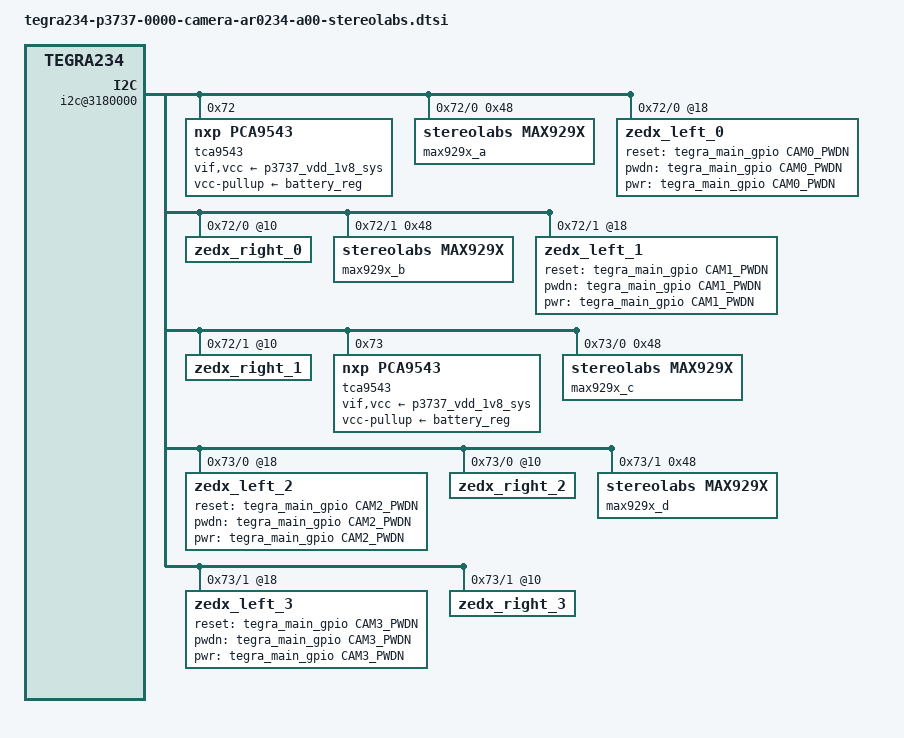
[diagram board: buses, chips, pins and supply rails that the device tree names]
/*
 * Copyright (c) 2018-2022, NVIDIA CORPORATION.  All rights reserved.
 *
 * This program is free software; you can redistribute it and/or modify
 * it under the terms of the GNU General Public License as published by
 * the Free Software Foundation; either version 2 of the License, or
 * (at your option) any later version.
 *
 * This program is distributed in the hope that it will be useful, but WITHOUT
 * ANY WARRANTY; without even the implied warranty of MERCHANTABILITY or
 * FITNESS FOR A PARTICULAR PURPOSE.  See the GNU General Public License for
 * more details.
 *
 * You should have received a copy of the GNU General Public License
 * along with this program.  If not, see <http://www.gnu.org/licenses/>.
 */
#include "t234-common-modules/tegra234-camera-ar0234-a00-stereolabs.dtsi"
#include "dt-bindings/clock/tegra234-clock.h"


#define CAM0_PWDN	TEGRA234_MAIN_GPIO(H, 6)
#define CAM1_PWDN	TEGRA234_MAIN_GPIO(AC, 0)
#define CAM2_PWDN	TEGRA234_MAIN_GPIO(H, 3)
#define CAM3_PWDN	TEGRA234_MAIN_GPIO(AC, 1)
#define CAMERA_I2C_MUX_BUS(x) (0x1E + x)

/* camera control gpio definitions */

/ {
/*
	gpio@2200000 {
		gmsl_poc {
			gpio-hog;
			output-high;
			gpios =  <CAM_POC_PWR 0>;
			label = "poc_sel1";
		};
	};
	*/

	i2c@3180000 {
		tca9543@72 {
			compatible = "nxp,pca9543";
			reg = <0x72>;
			#address-cells = <1>;
			#size-cells = <0>;
		    i2c-mux-idle-disconnect;
			idle-state = <1>;
			skip_mux_detect = "yes";
			vif-supply = <&p3737_vdd_1v8_sys>;
			vcc-supply = <&p3737_vdd_1v8_sys>;
			vcc-pullup-supply = <&battery_reg>;
			force_bus_start = <CAMERA_I2C_MUX_BUS(0)>; /* Force start of bus 30 */
			status = "okay";
			i2c-mux-idle-disconnect;

			/* /dev/i2c-30/ */
			i2c@0 {
				reg = <0>;
				i2c-mux,deselect-on-exit;
				#address-cells = <1>;
				#size-cells = <0>;

				/* deserializer MAX9296 at address 0x48*/
				max929x_a@48 {
					compatible = "stereolabs,max929x";
					reg = <0x48>;  /* deserializer i2c_address */
					channel = "a"; /* deserializer channel: one per deser */
				};

				/* ZEDX 0 Left Cam*/
				zedx_left_0@18 {
					status = "okay";
					def-addr = <0x18>;
					/* Define any required hw resources needed by driver */
					/* ie. clocks, io pins, power sources */
					clocks = <&bpmp_clks TEGRA234_CLK_EXTPERIPH1>,
							<&bpmp_clks TEGRA234_CLK_EXTPERIPH1>;
					clock-names = "extperiph1", "pllp_grtba";
					mclk = "extperiph1";
					channel = "a";   /* deserializer channel */
					mode = "master"; /* the master role is to initialize */
							  /* all the serializers connected to the same */
							  /* deserializer. -> one per ZEDX*/
							  /* This master initializes the serializers */
							  /* of ZEDX 0 and ZEDX 1. */
					reset-gpio = <&tegra_main_gpio CAM0_PWDN GPIO_ACTIVE_HIGH>;
					pwdn-gpios = <&tegra_main_gpio CAM0_PWDN GPIO_ACTIVE_HIGH>;
					pwr-gpios = <&tegra_main_gpio CAM0_PWDN GPIO_ACTIVE_HIGH>;
					has-eeprom;
				};

				/* ZEDX 0 Right Cam*/
				zedx_right_0@10 {
					status = "okay";
					def-addr = <0x10>;
					/* Define any required hw resources needed by driver */
					/* ie. clocks, io pins, power sources */
					clocks = <&bpmp_clks TEGRA234_CLK_EXTPERIPH1>,
							<&bpmp_clks TEGRA234_CLK_EXTPERIPH1>;
					clock-names = "extperiph1", "pllp_grtba";
					mclk = "extperiph1";
					channel = "a";  /* deserializer channel */
					mode = "slave"; /* the serializer of the ZEDX 0 is already */
							 /* initialized */
					has-eeprom;
				};
			};

			/* /dev/i2c-31/ */
			i2c@1 {
				reg = <1>;
				i2c-mux,deselect-on-exit;
				#address-cells = <1>;
				#size-cells = <0>;

				/* deserializer MAX9296 at address 0x48*/
				max929x_b@48 {
					compatible = "stereolabs,max929x";
					reg = <0x48>;  /* deserializer i2c_address */
					channel = "b"; /* deserializer channel: one per deser */
				};

				/* ZEDX 1 Left Cam*/
				zedx_left_1@18 {
					status = "okay";
					def-addr = <0x18>;
					/* Define any required hw resources needed by driver */
					/* ie. clocks, io pins, power sources */
					clocks = <&bpmp_clks TEGRA234_CLK_EXTPERIPH1>,
							<&bpmp_clks TEGRA234_CLK_EXTPERIPH1>;
					clock-names = "extperiph1", "pllp_grtba";
					mclk = "extperiph1";
					channel = "b";  /* deserializer channel: same as ZEDX 0 */
					mode = "master"; /* the serializer of the ZEDX 1 is */
							 /* initialized at the same time as the*/
							 /* serializer of the ZEDX 0 */
					reset-gpio = <&tegra_main_gpio CAM1_PWDN GPIO_ACTIVE_HIGH>;
					pwdn-gpios = <&tegra_main_gpio CAM1_PWDN GPIO_ACTIVE_HIGH>;
					pwr-gpios = <&tegra_main_gpio CAM1_PWDN GPIO_ACTIVE_HIGH>;
					has-eeprom;
				};

				/* ZEDX 1 Right Cam*/
				zedx_right_1@10 {
					status = "okay";
					def-addr = <0x10>;
					/* Define any required hw resources needed by driver */
					/* ie. clocks, io pins, power sources */
					clocks = <&bpmp_clks TEGRA234_CLK_EXTPERIPH1>,
									<&bpmp_clks TEGRA234_CLK_EXTPERIPH1>;
					clock-names = "extperiph1", "pllp_grtba";
					mclk = "extperiph1";
					channel = "b"; /* deserializer channel: same as ZEDX 0 */
					mode = "slave"; /* the serializer of the ZEDX 1 is */
							 /* initialized at the same time as the*/
							 /* serializer of the ZEDX 0 */
					has-eeprom;
				};
			};
		};

		tca9543@73 {
			compatible = "nxp,pca9543";
			reg = <0x73>;
			#address-cells = <1>;
			#size-cells = <0>;
			i2c-mux-idle-disconnect;
			idle-state = <1>;
			skip_mux_detect = "yes";
			vif-supply = <&p3737_vdd_1v8_sys>;
			vcc-supply = <&p3737_vdd_1v8_sys>;
			vcc-pullup-supply = <&battery_reg>;
			force_bus_start = <CAMERA_I2C_MUX_BUS(2)>; /* Force start of bus 32 */
			i2c-mux-idle-disconnect;
			status = "okay";
			/* /dev/i2c-32/ */
			i2c@0 {
				reg = <0>;
				i2c-mux,deselect-on-exit;
				#address-cells = <1>;
				#size-cells = <0>;
				i2c-mux-idle-disconnect;
				/* deserializer MAX9296 at address 0x48*/
				max929x_c@48 {
					compatible = "stereolabs,max929x";
					reg = <0x48>;  /* deserializer i2c_address */
					channel = "c"; /* deserializer channel: one per deser */
				};
 

				/* ZEDX 2 Left Cam*/
				zedx_left_2@18 {
					status = "okay";
					def-addr = <0x18>;
					/* Define any required hw resources needed by driver */
					/* ie. clocks, io pins, power sources */
					clocks = <&bpmp_clks TEGRA234_CLK_EXTPERIPH1>,
							<&bpmp_clks TEGRA234_CLK_EXTPERIPH1>;
					clock-names = "extperiph1", "pllp_grtba";
					mclk = "extperiph1";
					channel = "c";   /* deserializer channel */
					mode = "master";
					reset-gpio = <&tegra_main_gpio CAM2_PWDN GPIO_ACTIVE_HIGH>;
					pwdn-gpios = <&tegra_main_gpio CAM2_PWDN GPIO_ACTIVE_HIGH>;
					pwr-gpios = <&tegra_main_gpio CAM2_PWDN GPIO_ACTIVE_HIGH>;
					has-eeprom;
				};

				/* ZEDX 2 Right Cam*/
				zedx_right_2@10 {
					status = "okay";
					def-addr = <0x10>;
					/* Define any required hw resources needed by driver */
					/* ie. clocks, io pins, power sources */
					clocks = <&bpmp_clks TEGRA234_CLK_EXTPERIPH1>,
									<&bpmp_clks TEGRA234_CLK_EXTPERIPH1>;
					clock-names = "extperiph1", "pllp_grtba";
					mclk = "extperiph1";
					channel = "c";  /* deserializer channel */
					mode = "slave";
					has-eeprom;
				};
			};

			/* /dev/i2c-33/ */
			i2c@1 {
				reg = <1>;
				i2c-mux,deselect-on-exit;
				#address-cells = <1>;
				#size-cells = <0>;
 				i2c-mux-idle-disconnect;
				/* deserializer MAX9296 at address 0x48*/
				max929x_d@48 {
					compatible = "stereolabs,max929x";
					reg = <0x48>;  /* deserializer i2c_address */
					channel = "d"; /* deserializer channel: one per deser */
				};

				/* ZEDX 1 Left Cam*/
				zedx_left_3@18 {
					status = "okay";
					def-addr = <0x18>;
					/* Define any required hw resources needed by driver */
					/* ie. clocks, io pins, power sources */
					clocks = <&bpmp_clks TEGRA234_CLK_EXTPERIPH1>,
							<&bpmp_clks TEGRA234_CLK_EXTPERIPH1>;
					clock-names = "extperiph1", "pllp_grtba";
					mclk = "extperiph1";
					channel = "d";  /* deserializer channel: same as MAX associated */
					mode = "master";
					reset-gpio = <&tegra_main_gpio CAM3_PWDN GPIO_ACTIVE_HIGH>;
					pwdn-gpios = <&tegra_main_gpio CAM3_PWDN GPIO_ACTIVE_HIGH>;
					pwr-gpios = <&tegra_main_gpio CAM3_PWDN GPIO_ACTIVE_HIGH>;
					has-eeprom;
				};

				/* ZEDX 1 Right Cam*/
				zedx_right_3@10 {
					status = "okay";
					def-addr = <0x10>;
					/* Define any required hw resources needed by driver */
					/* ie. clocks, io pins, power sources */
					clocks = <&bpmp_clks TEGRA234_CLK_EXTPERIPH1>,
									<&bpmp_clks TEGRA234_CLK_EXTPERIPH1>;
					clock-names = "extperiph1", "pllp_grtba";
					mclk = "extperiph1";
					channel = "d"; /* deserializer channel: same as MAX associated*/
					mode = "slave";
					has-eeprom;
				};
			};
		};
	};
};
